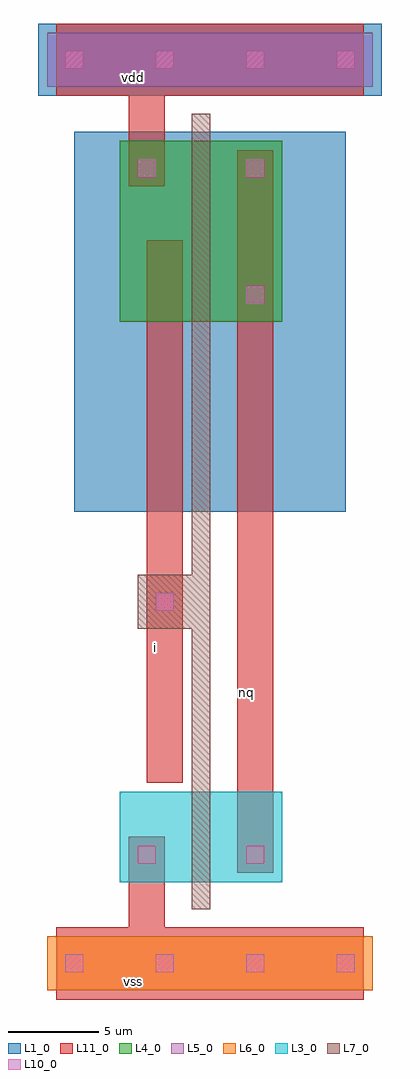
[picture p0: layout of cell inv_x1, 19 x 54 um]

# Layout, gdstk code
import gdstk
lib = gdstk.Library(unit=1e-6, precision=2.5e-07)
def R(c, l, rs):  # rectangles x0, y0, x1, y1
    for r in rs: c.add(gdstk.rectangle(r[:2], r[2:], *l))
def A(c, l, x, y, w, h, nx, ny, dx, dy):  # array of equal rectangles
    R(c, l, [(x+i*dx, y+j*dy, x+i*dx+w, y+j*dy+h) for i in range(nx) for j in range(ny)])
L1_0 = (1, 0)
L3_0 = (3, 0)
L4_0 = (4, 0)
L5_0 = (5, 0)
L6_0 = (6, 0)
L7_0 = (7, 0)
L10_0 = (10, 0)
L11_0 = (11, 0)

inv_x1 = lib.new_cell('inv_x1')
A(inv_x1, L1_0, -2, 48, 4, 4, 4, 1, 5, 0)
R(inv_x1, L1_0, [(0,25,15,37), (0,25,15,37), (0,34,15,46), (0,34,15,46), (2,35,6,45), (2,35,6,45), (4,35,10,46), (4,35,10,46), (8,35,12,39), (8,35,12,46), (8,35,12,46), (2,42,6,46), (8,42,12,46), (-1,48,16,52), (-1,48,16,52)])
R(inv_x1, L3_0, [(2.5,4.5,5.5,7.5), (2.5,4.5,5.5,9.5), (2.5,4.5,5.5,9.5), (4.5,4.5,9.5,9.5), (4.5,4.5,9.5,9.5), (8.5,4.5,11.5,7.5), (8.5,4.5,11.5,9.5), (8.5,4.5,11.5,9.5)])
R(inv_x1, L4_0, [(2.5,35.5,5.5,44.5), (2.5,35.5,5.5,44.5), (4.5,35.5,9.5,45.5), (4.5,35.5,9.5,45.5), (8.5,35.5,11.5,38.5), (8.5,35.5,11.5,45.5), (8.5,35.5,11.5,45.5), (2.5,42.5,5.5,45.5), (8.5,42.5,11.5,45.5)])
A(inv_x1, L5_0, -1.5, 48.5, 3, 3, 4, 1, 5, 0)
R(inv_x1, L5_0, [(-0.5,48.5,15.5,51.5), (-0.5,48.5,15.5,51.5)])
A(inv_x1, L6_0, -1.5, -1.5, 3, 3, 4, 1, 5, 0)
R(inv_x1, L6_0, [(-0.5,-1.5,15.5,1.5), (-0.5,-1.5,15.5,1.5)])
R(inv_x1, L7_0, [(6.5,3,7.5,11), (6.5,3,7.5,11), (6.5,10.5,7.5,34.5), (6.5,10.5,7.5,34.5), (3.5,18.5,6.5,21.5), (4.5,19,7.5,21), (4.5,19,7.5,21), (6.5,34,7.5,47), (6.5,34,7.5,47)])
A(inv_x1, L10_0, -0.5, -0.5, 1, 1, 4, 2, 5, 50)
R(inv_x1, L10_0, [(3.5,5.5,4.5,6.5), (9.5,5.5,10.5,6.5), (4.5,19.5,5.5,20.5), (9.5,36.5,10.5,37.5), (3.5,43.5,4.5,44.5), (9.5,43.5,10.5,44.5)])
A(inv_x1, L11_0, -1, -1, 2, 2, 4, 2, 5, 50)
R(inv_x1, L11_0, [(-1,-2,16,2), (-0.5,-2,15.5,2), (3,-0.5,5,6.5), (3,-0.5,5,6.5), (3,5,5,7), (9,5,11,7), (9,5,11,45), (9,5.5,11,44.5), (4,10,6,40), (4,10.5,6,39.5), (4,19,6,21), (9,36,11,38), (3,43,5,45), (9,43,11,45), (3,43.5,5,50.5), (3,43.5,5,50.5), (-1,48,16,52), (-0.5,48,15.5,52)])
inv_x1.add(gdstk.Label('vdd', (3.25,49), layer=11, texttype=0))
inv_x1.add(gdstk.Label('vss', (3.25,-1), layer=11, texttype=0))
inv_x1.add(gdstk.Label('nq', (9.5,15), layer=11, texttype=0))
inv_x1.add(gdstk.Label('i', (4.5,17.5), layer=11, texttype=0))

lib.write_gds('inv_x1.gds')
